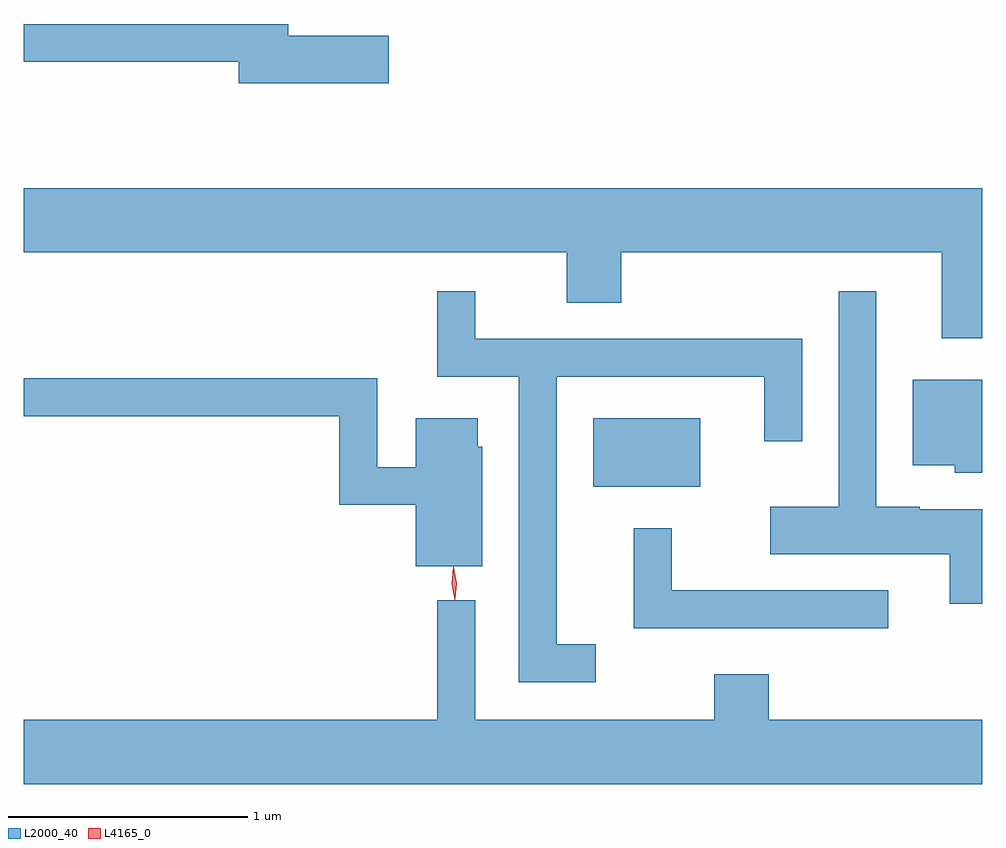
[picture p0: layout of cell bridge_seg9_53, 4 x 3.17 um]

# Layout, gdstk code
import gdstk
lib = gdstk.Library(unit=1e-6, precision=1e-09)
def R(c, l, rs):  # rectangles x0, y0, x1, y1
    for r in rs: c.add(gdstk.rectangle(r[:2], r[2:], *l))
def P(c, l, *ps):  # polygons
    for p in ps: c.add(gdstk.Polygon(p, *l))
L2000_40 = (2000, 40)
L4165_0 = (4165, 0)

bridge_seg9_53 = lib.new_cell('bridge_seg9_53')
R(bridge_seg9_53, L2000_40, [(1676.396,2004.156,1676.844,2004.444)])
P(bridge_seg9_53, L2000_40, [(1675.544,2006.039),(1675.124,2006.039),(1675.124,2006.089),(1674.02,2006.089),(1674.02,2005.931),(1674.916,2005.931),(1674.916,2005.841),(1675.544,2005.841)],
  [(1678.02,2005.404),(1674.02,2005.404),(1674.02,2005.136),(1676.286,2005.136),(1676.286,2004.926),(1676.514,2004.926),(1676.514,2005.136),(1677.851,2005.136),(1677.851,2004.776),(1678.02,2004.776)],
  [(1676.408,2003.499),(1676.244,2003.499),(1676.244,2004.616),(1677.111,2004.616),(1677.111,2004.348),(1677.269,2004.348),(1677.269,2004.774),(1675.904,2004.774),(1675.904,2004.973),(1675.746,2004.973),(1675.746,2004.616),(1676.086,2004.616),(1676.086,2003.341),(1676.408,2003.341)],
  [(1678.02,2004.064),(1677.76,2004.064),(1677.76,2004.074),(1677.579,2004.074),(1677.579,2004.973),(1677.421,2004.973),(1677.421,2004.074),(1677.136,2004.074),(1677.136,2003.876),(1677.886,2003.876),(1677.886,2003.668),(1678.02,2003.668)],
  [(1675.934,2004.324),(1675.914,2004.324),(1675.914,2004.444),(1675.656,2004.444),(1675.656,2004.239),(1675.494,2004.239),(1675.494,2004.609),(1674.02,2004.609),(1674.02,2004.451),(1675.336,2004.451),(1675.336,2004.081),(1675.656,2004.081),(1675.656,2003.826),(1675.934,2003.826)],
  [(1678.02,2004.604),(1677.731,2004.604),(1677.731,2004.246),(1677.906,2004.246),(1677.906,2004.216),(1678.02,2004.216)],
  [(1677.628,2003.724),(1676.724,2003.724),(1676.724,2003.983),(1676.566,2003.983),(1676.566,2003.566),(1677.628,2003.566)],
  [(1678.02,2003.184),(1677.129,2003.184),(1677.129,2003.374),(1676.901,2003.374),(1676.901,2003.184),(1675.904,2003.184),(1675.904,2003.683),(1675.746,2003.683),(1675.746,2003.184),(1674.02,2003.184),(1674.02,2002.916),(1678.02,2002.916)])
P(bridge_seg9_53, L4165_0, [(1675.818,2003.684),(1675.818,2003.685),(1675.806,2003.753),(1675.813,2003.821),(1675.814,2003.822),(1675.814,2003.821),(1675.826,2003.753),(1675.818,2003.685)],
  [(1675.819,2003.688),(1675.819,2003.688),(1675.806,2003.753),(1675.812,2003.819),(1675.813,2003.819),(1675.813,2003.819),(1675.826,2003.754),(1675.82,2003.688)])

lib.write_gds('bridge_seg9_53.gds')
